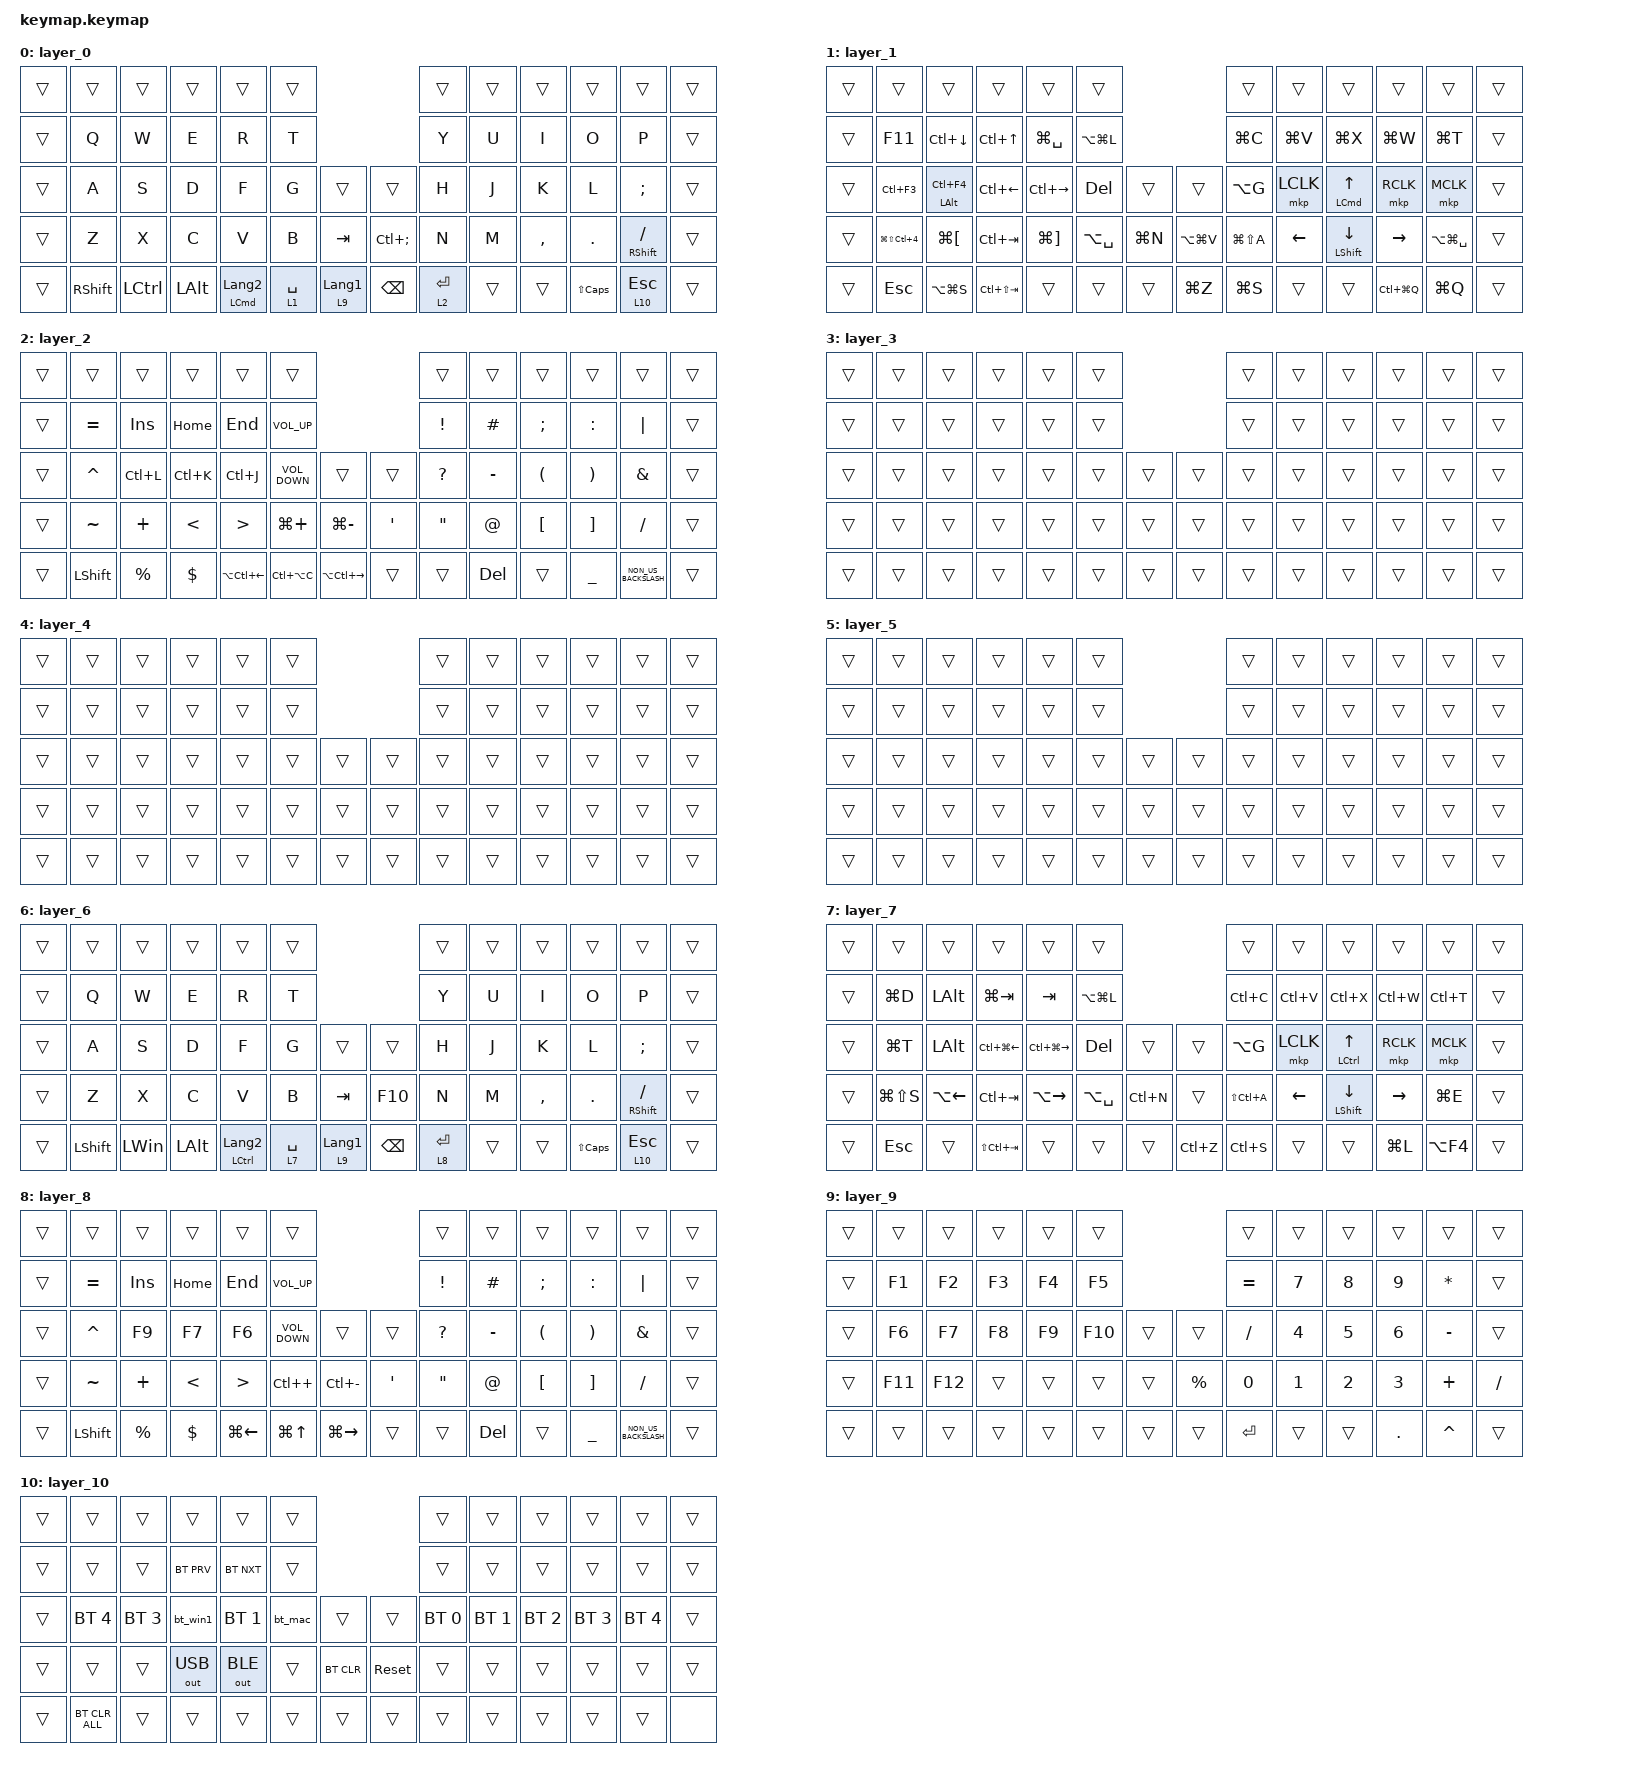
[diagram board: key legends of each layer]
#include <behaviors.dtsi>
#include <dt-bindings/zmk/bt.h>
#include <dt-bindings/zmk/keys.h>
#include <dt-bindings/zmk/outputs.h>
#include <dt-bindings/zmk/pointing.h>

/ {
    combos {
        compatible = "zmk,combos";

        bt_clear {
            bindings = <&bt BT_CLR>;
            key-positions = <28 29>;
            layers = <2>;
        };
    };

    macros {
        bt_mac: bt_mac {
            compatible = "zmk,behavior-macro";
            #binding-cells = <0>;
            bindings = <&bt BT_SEL 0 &to 0>;
        };

        bt_win1: bt_win1 {
            compatible = "zmk,behavior-macro";
            #binding-cells = <0>;
            bindings = <&bt BT_SEL 2 &to 6>;
        };
    };

    keymap {
        compatible = "zmk,keymap";

        layer_0 {
            bindings = <
&trans  &trans           &trans            &trans    &trans                       &trans                                            &trans       &trans  &trans     &trans        &trans                &trans
&trans  &kp Q            &kp W             &kp E     &kp R                        &kp T                                             &kp Y        &kp U   &kp I      &kp O         &kp P                 &trans
&trans  &kp A            &kp S             &kp D     &kp F                        &kp G        &trans            &trans             &kp H        &kp J   &kp K      &kp L         &kp SEMI              &trans
&trans  &kp Z            &kp X             &kp C     &kp V                        &kp B        &kp TAB           &kp LC(SEMICOLON)  &kp N        &kp M   &kp COMMA  &kp DOT       &mt RIGHT_SHIFT FSLH  &trans
&trans  &kp RIGHT_SHIFT  &kp LEFT_CONTROL  &kp LALT  &mt LEFT_COMMAND LANGUAGE_2  &lt 1 SPACE  &lt 9 LANGUAGE_1  &kp BACKSPACE      &lt 2 ENTER  &trans  &trans     &kp LS(CLCK)  &lt 10 ESCAPE         &trans
            >;
        };

        layer_1 {
            bindings = <
&trans  &trans                    &trans                &trans              &trans                 &trans                                   &trans         &trans          &trans                     &trans           &trans             &trans
&trans  &kp F11                   &kp LC(DOWN_ARROW)    &kp LC(UP_ARROW)    &kp LG(SPACE)          &kp LA(LG(L))                            &kp LG(C)      &kp LG(V)       &kp LG(X)                  &kp LG(W)        &kp LG(T)          &trans
&trans  &kp LC(F3)                &mt LEFT_ALT LC(F4)   &kp LC(LEFT_ARROW)  &kp LC(RIGHT_ARROW)    &kp DEL        &trans     &trans         &kp LA(G)      &mkp LCLK       &mt LEFT_COMMAND UP_ARROW  &mkp RCLK        &mkp MCLK          &trans
&trans  &kp LG(LS(LC(NUMBER_4)))  &kp LG(LEFT_BRACKET)  &kp LC(TAB)         &kp LG(RIGHT_BRACKET)  &kp LA(SPACE)  &kp LG(N)  &kp LA(LG(V))  &kp LG(LS(A))  &kp LEFT_ARROW  &mt LEFT_SHIFT DOWN_ARROW  &kp RIGHT_ARROW  &kp LA(LG(SPACE))  &trans
&trans  &kp ESCAPE                &kp LA(LG(S))         &kp LC(LS(TAB))     &trans                 &trans         &trans     &kp LG(Z)      &kp LG(S)      &trans          &trans                     &kp LC(LG(Q))    &kp LG(Q)          &trans
            >;
        };

        layer_2 {
            bindings = <
&trans  &trans          &trans       &trans         &trans                  &trans                                               &trans             &trans       &trans                &trans                 &trans                &trans
&trans  &kp EQUAL       &kp INSERT   &kp HOME       &kp END                 &kp C_VOLUME_UP                                      &kp EXCLAMATION    &kp HASH     &kp SEMICOLON         &kp COLON              &kp PIPE              &trans
&trans  &kp CARET       &kp LC(L)    &kp LC(K)      &kp LC(J)               &kp C_VOLUME_DOWN  &trans                   &trans   &kp QUESTION       &kp MINUS    &kp LEFT_PARENTHESIS  &kp RIGHT_PARENTHESIS  &kp AMPS              &trans
&trans  &kp TILDE       &kp PLUS     &kp LESS_THAN  &kp GREATER_THAN        &kp LG(PLUS)       &kp LG(MINUS)            &kp SQT  &kp DOUBLE_QUOTES  &kp AT_SIGN  &kp LEFT_BRACKET      &kp RIGHT_BRACKET      &kp SLASH             &trans
&trans  &kp LEFT_SHIFT  &kp PERCENT  &kp DOLLAR     &kp LA(LC(LEFT_ARROW))  &kp LC(LA(C))      &kp LA(LC(RIGHT_ARROW))  &trans   &trans             &kp DEL      &trans                &kp UNDERSCORE         &kp NON_US_BACKSLASH  &trans
            >;
        };

        layer_3 {
            bindings = <
&trans  &trans  &trans  &trans  &trans  &trans                  &trans  &trans  &trans  &trans  &trans  &trans
&trans  &trans  &trans  &trans  &trans  &trans                  &trans  &trans  &trans  &trans  &trans  &trans
&trans  &trans  &trans  &trans  &trans  &trans  &trans  &trans  &trans  &trans  &trans  &trans  &trans  &trans
&trans  &trans  &trans  &trans  &trans  &trans  &trans  &trans  &trans  &trans  &trans  &trans  &trans  &trans
&trans  &trans  &trans  &trans  &trans  &trans  &trans  &trans  &trans  &trans  &trans  &trans  &trans  &trans
            >;
        };

        layer_4 {
            bindings = <
&trans  &trans  &trans  &trans  &trans  &trans                  &trans  &trans  &trans  &trans  &trans  &trans
&trans  &trans  &trans  &trans  &trans  &trans                  &trans  &trans  &trans  &trans  &trans  &trans
&trans  &trans  &trans  &trans  &trans  &trans  &trans  &trans  &trans  &trans  &trans  &trans  &trans  &trans
&trans  &trans  &trans  &trans  &trans  &trans  &trans  &trans  &trans  &trans  &trans  &trans  &trans  &trans
&trans  &trans  &trans  &trans  &trans  &trans  &trans  &trans  &trans  &trans  &trans  &trans  &trans  &trans
            >;
        };

        layer_5 {
            bindings = <
&trans  &trans  &trans  &trans  &trans  &trans                  &trans  &trans  &trans  &trans  &trans  &trans
&trans  &trans  &trans  &trans  &trans  &trans                  &trans  &trans  &trans  &trans  &trans  &trans
&trans  &trans  &trans  &trans  &trans  &trans  &trans  &trans  &trans  &trans  &trans  &trans  &trans  &trans
&trans  &trans  &trans  &trans  &trans  &trans  &trans  &trans  &trans  &trans  &trans  &trans  &trans  &trans
&trans  &trans  &trans  &trans  &trans  &trans  &trans  &trans  &trans  &trans  &trans  &trans  &trans  &trans
            >;
        };

        layer_6 {
            bindings = <
&trans  &trans          &trans        &trans    &trans                       &trans                                        &trans       &trans  &trans     &trans        &trans                &trans
&trans  &kp Q           &kp W         &kp E     &kp R                        &kp T                                         &kp Y        &kp U   &kp I      &kp O         &kp P                 &trans
&trans  &kp A           &kp S         &kp D     &kp F                        &kp G        &trans            &trans         &kp H        &kp J   &kp K      &kp L         &kp SEMI              &trans
&trans  &kp Z           &kp X         &kp C     &kp V                        &kp B        &kp TAB           &kp F10        &kp N        &kp M   &kp COMMA  &kp DOT       &mt RIGHT_SHIFT FSLH  &trans
&trans  &kp LEFT_SHIFT  &kp LEFT_WIN  &kp LALT  &mt LEFT_CONTROL LANGUAGE_2  &lt 7 SPACE  &lt 9 LANGUAGE_1  &kp BACKSPACE  &lt 8 ENTER  &trans  &trans     &kp LS(CLCK)  &lt 10 ESCAPE         &trans
            >;
        };

        layer_7 {
            bindings = <
&trans  &trans         &trans              &trans                  &trans                   &trans                               &trans         &trans          &trans                     &trans           &trans      &trans
&trans  &kp LG(D)      &kp LEFT_ALT        &kp LG(TAB)             &kp TAB                  &kp LA(LG(L))                        &kp LC(C)      &kp LC(V)       &kp LC(X)                  &kp LC(W)        &kp LC(T)   &trans
&trans  &kp LG(T)      &kp LEFT_ALT        &kp LC(LG(LEFT_ARROW))  &kp LC(LG(RIGHT_ARROW))  &kp DEL        &trans     &trans     &kp LA(G)      &mkp LCLK       &mt LEFT_CONTROL UP_ARROW  &mkp RCLK        &mkp MCLK   &trans
&trans  &kp LG(LS(S))  &kp LA(LEFT_ARROW)  &kp LC(TAB)             &kp LA(RIGHT_ARROW)      &kp LA(SPACE)  &kp LC(N)  &trans     &kp LS(LC(A))  &kp LEFT_ARROW  &mt LEFT_SHIFT DOWN_ARROW  &kp RIGHT_ARROW  &kp LG(E)   &trans
&trans  &kp ESCAPE     &trans              &kp LS(LC(TAB))         &trans                   &trans         &trans     &kp LC(Z)  &kp LC(S)      &trans          &trans                     &kp LG(L)        &kp LA(F4)  &trans
            >;
        };

        layer_8 {
            bindings = <
&trans  &trans          &trans       &trans         &trans              &trans                                           &trans             &trans       &trans                &trans                 &trans                &trans
&trans  &kp EQUAL       &kp INSERT   &kp HOME       &kp END             &kp C_VOLUME_UP                                  &kp EXCLAMATION    &kp HASH     &kp SEMICOLON         &kp COLON              &kp PIPE              &trans
&trans  &kp CARET       &kp F9       &kp F7         &kp F6              &kp C_VOLUME_DOWN  &trans               &trans   &kp QUESTION       &kp MINUS    &kp LEFT_PARENTHESIS  &kp RIGHT_PARENTHESIS  &kp AMPS              &trans
&trans  &kp TILDE       &kp PLUS     &kp LESS_THAN  &kp GREATER_THAN    &kp LC(PLUS)       &kp LC(MINUS)        &kp SQT  &kp DOUBLE_QUOTES  &kp AT_SIGN  &kp LEFT_BRACKET      &kp RIGHT_BRACKET      &kp SLASH             &trans
&trans  &kp LEFT_SHIFT  &kp PERCENT  &kp DOLLAR     &kp LG(LEFT_ARROW)  &kp LG(UP_ARROW)   &kp LG(RIGHT_ARROW)  &trans   &trans             &kp DEL      &trans                &kp UNDERSCORE         &kp NON_US_BACKSLASH  &trans
            >;
        };

        layer_9 {
            bindings = <
&trans  &trans   &trans   &trans  &trans  &trans                        &trans     &trans        &trans        &trans        &trans        &trans
&trans  &kp F1   &kp F2   &kp F3  &kp F4  &kp F5                        &kp EQUAL  &kp N7        &kp N8        &kp N9        &kp ASTERISK  &trans
&trans  &kp F6   &kp F7   &kp F8  &kp F9  &kp F10  &trans  &trans       &kp SLASH  &kp NUMBER_4  &kp N5        &kp NUMBER_6  &kp MINUS     &trans
&trans  &kp F11  &kp F12  &trans  &trans  &trans   &trans  &kp PERCENT  &kp N0     &kp NUMBER_1  &kp NUMBER_2  &kp NUMBER_3  &kp PLUS      &kp SLASH
&trans  &trans   &trans   &trans  &trans  &trans   &trans  &trans       &kp ENTER  &trans        &trans        &kp PERIOD    &kp CARET     &trans
            >;
        };

        layer_10 {
            bindings = <
&trans  &trans          &trans        &trans        &trans        &trans                           &trans        &trans        &trans        &trans        &trans        &trans
&trans  &trans          &trans        &bt BT_PRV    &bt BT_NXT    &trans                           &trans        &trans        &trans        &trans        &trans        &trans
&trans  &bt BT_SEL 4    &bt BT_SEL 3  &bt_win1      &bt BT_SEL 1  &bt_mac  &trans      &trans      &bt BT_SEL 0  &bt BT_SEL 1  &bt BT_SEL 2  &bt BT_SEL 3  &bt BT_SEL 4  &trans
&trans  &trans          &trans        &out OUT_USB  &out OUT_BLE  &trans   &bt BT_CLR  &sys_reset  &trans        &trans        &trans        &trans        &trans        &trans
&trans  &bt BT_CLR_ALL  &trans        &trans        &trans        &trans   &trans      &trans      &trans        &trans        &trans        &trans        &trans        &none
            >;
        };
    };
};
